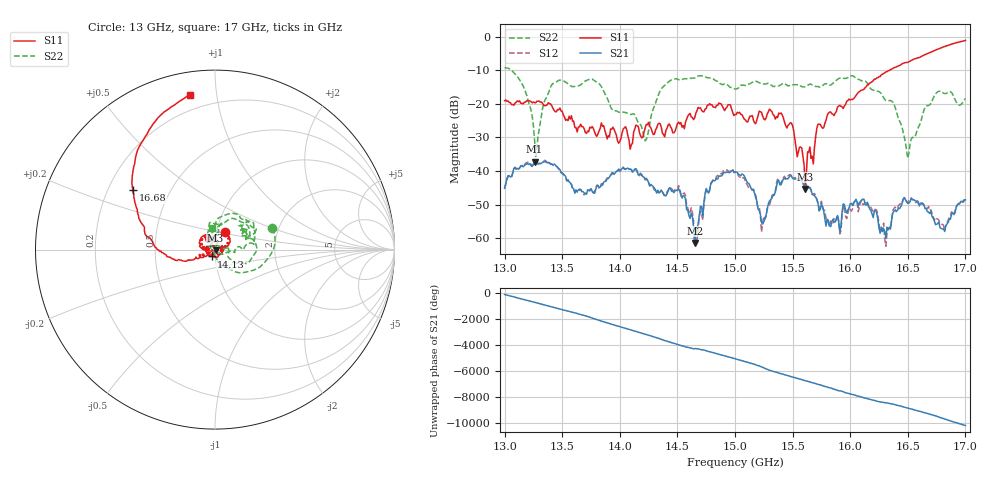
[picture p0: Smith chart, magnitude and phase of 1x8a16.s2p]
!Keysight Technologies,P9374A,MY57211807,A.19.30.04
!Date: Friday, May 08, 2026 14:11:17
!Correction: S11(C  2-Port  )
!S21(C  2-Port  )
!S12(C  2-Port  )
!S22(C  2-Port  )
!S2P File: Measurements: S11, S21, S12, S22:
# Hz S  dB  R 50
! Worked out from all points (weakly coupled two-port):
!   401 points, 13 GHz to 17 GHz, reference 50 ohm
!   highest |S21| = -37.19 dB at 13.26 GHz (marker M1); lowest = -61.4 dB at 14.65 GHz (marker M2)
!   lowest |S11| = -45.4 dB at 15.61 GHz (marker M3), VSWR 1.01, Z = 50.3 - j0.437 ohm
!   |S11| at or under -10 dB: start of sweep to 16.34 GHz
!   |S22| runs from -36.2 to -9.3 dB; largest |S21 - S12| = 0.0012
!   S11 on the Smith chart (normalised r, x): 13 GHz: 1.10, +0.21; 14.13 GHz: 0.96, -0.07; 16.68 GHz: 0.30, +0.30; 17 GHz: 0.12, +0.84
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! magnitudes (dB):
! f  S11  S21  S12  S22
! 13 GHz  -19.1  -45.1  -45.1  -9.3
! 13.17 GHz  -19.6  -38.5  -38.3  -15.4
! 13.26 GHz  -19.7  -37.2  -37.4  -30.9
! 13.42 GHz  -21.4  -38.2  -38.3  -14.0
! 13.67 GHz  -26.8  -46.0  -46.1  -14.1
! 14.13 GHz  -27.5  -39.4  -39.6  -23.3
! 14.23 GHz  -26.1  -42.1  -42.4  -30.6
! 14.34 GHz  -25.8  -46.4  -46.5  -17.0
! 14.53 GHz  -25.6  -47.2  -46.8  -12.9
! 14.65 GHz  -24.1  -61.4  -61.4  -12.4
! 14.81 GHz  -21.0  -42.8  -42.6  -12.6
! 15 GHz  -23.2  -40.3  -40.4  -15.6
! 15.25 GHz  -24.5  -55.1  -53.5  -14.1
! 15.38 GHz  -22.7  -42.8  -42.9  -14.7
! 15.61 GHz  -45.4  -44.2  -44.1  -14.9
! 15.67 GHz  -35.6  -46.8  -47.0  -14.4
! 15.81 GHz  -22.8  -54.7  -55.3  -14.4
! 16.1 GHz  -15.9  -48.6  -48.7  -13.2
! 16.34 GHz  -10.1  -56.7  -57.1  -19.1
! 16.5 GHz  -7.7  -49.7  -49.5  -36.2
! 16.68 GHz  -4.9  -52.2  -50.5  -20.5
! 17 GHz  -1.2  -48.5  -48.6  -18.4
